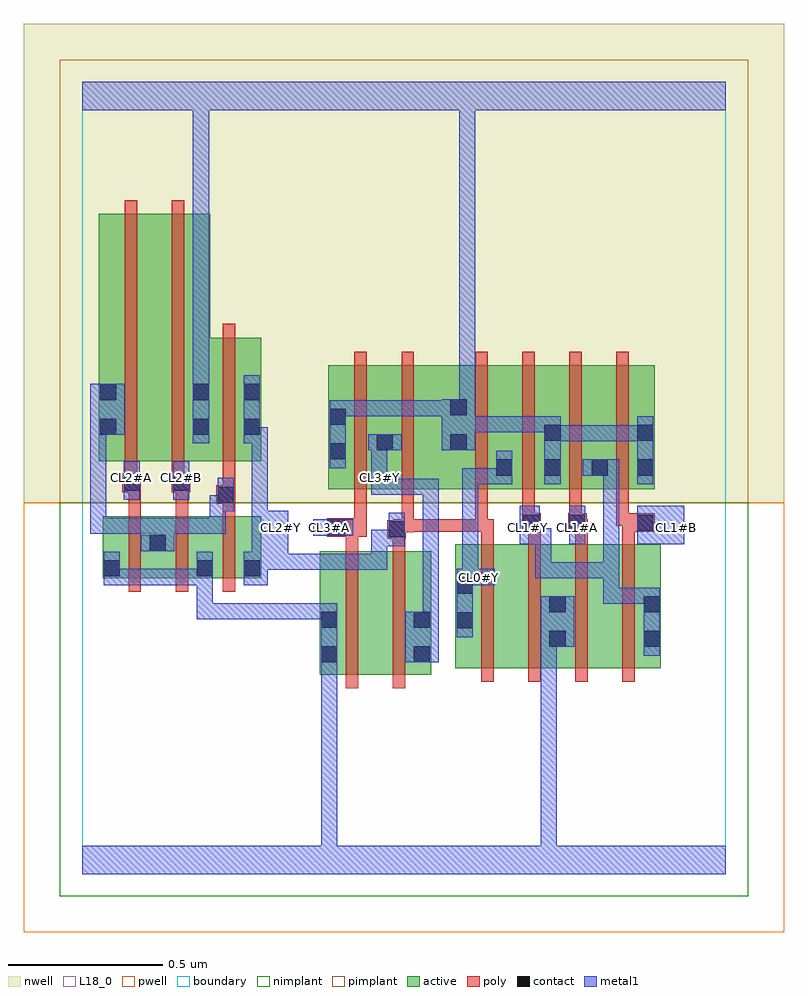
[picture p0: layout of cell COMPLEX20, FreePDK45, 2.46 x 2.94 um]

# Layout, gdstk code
import gdstk
lib = gdstk.Library(unit=1e-6, precision=1e-09)
def R(c, l, rs):  # rectangles x0, y0, x1, y1
    for r in rs: c.add(gdstk.rectangle(r[:2], r[2:], *l))
def A(c, l, x, y, w, h, nx, ny, dx, dy):  # array of equal rectangles
    R(c, l, [(x+i*dx, y+j*dy, x+i*dx+w, y+j*dy+h) for i in range(nx) for j in range(ny)])
active = (1, 0)
pwell = (2, 0)
nwell = (3, 0)
nimplant = (4, 0)
pimplant = (5, 0)
poly = (9, 0)
contact = (10, 0)
metal1 = (11, 0)
L18_0 = (18, 0)
boundary = (235, 0)

complex20 = lib.new_cell('COMPLEX20')
A(complex20, active, 0.214, 0.956, 0.06, 0.2, 3, 1, 0.152, 0)
R(complex20, active, [(0.768,0.644,0.948,1.044), (0.768,0.644,0.828,1.044), (0.948,0.644,1.128,1.044), (1.068,0.644,1.128,1.044), (1.206,0.666,1.386,1.066), (1.386,0.666,1.566,1.066), (1.506,0.666,1.69,1.066), (1.69,0.666,1.87,1.066), (1.506,0.73,1.566,0.902), (1.81,0.73,1.87,1.066), (1.206,0.756,1.266,1.066), (0.066,0.956,0.126,1.156), (0.066,0.956,0.274,1.156), (0.214,0.956,0.426,1.156), (0.366,0.956,0.578,1.156), (0.796,1.244,0.856,1.644), (0.796,1.244,1.008,1.644), (0.948,1.244,1.008,1.644), (0.948,1.244,1.246,1.644), (1.186,1.244,1.246,1.644), (1.186,1.244,1.394,1.644), (1.334,1.244,1.394,1.644), (1.334,1.244,1.55,1.644), (1.49,1.244,1.55,1.644), (1.49,1.244,1.702,1.644), (1.642,1.244,1.702,1.644), (1.642,1.244,1.85,1.644), (1.79,1.244,1.85,1.644), (0.054,1.334,0.234,2.134), (0.054,1.334,0.114,2.044), (0.234,1.334,0.414,2.134), (0.354,1.334,0.414,1.644), (0.354,1.334,0.578,1.734), (0.518,1.334,0.578,1.644)])
R(complex20, pwell, [(-0.188,-0.188,2.268,1.2)])
R(complex20, nwell, [(-0.188,1.2,2.268,2.748)])
R(complex20, nimplant, [(-0.072,-0.072,2.152,1.2)])
R(complex20, pimplant, [(-0.072,1.2,2.152,2.632)])
A(complex20, poly, 1.29, 0.622, 0.04, 0.488, 4, 1, 0.152, 0)
A(complex20, poly, 0.15, 0.912, 0.04, 0.288, 3, 1, 0.152, 0)
A(complex20, poly, 1.29, 1.07, 0.04, 0.076, 4, 1, 0.152, 0)
A(complex20, poly, 1.422, 1.126, 0.04, 0.114, 3, 1, 0.152, 0)
A(complex20, poly, 1.27, 1.2, 0.04, 0.488, 4, 1, 0.152, 0)
R(complex20, poly, [(0.852,0.6,0.892,1.088), (1.004,0.6,1.044,1.088), (0.852,1.048,0.892,1.13), (1.004,1.048,1.044,1.124), (0.986,1.084,1.046,1.144), (0.792,1.09,0.92,1.15), (0.852,1.09,0.892,1.13), (0.852,1.09,0.892,1.13), (1.006,1.104,1.046,1.144), (1.006,1.104,1.072,1.146), (1.032,1.106,1.072,1.146), (1.032,1.106,1.072,1.146), (1.032,1.106,1.072,1.24), (1.032,1.106,1.31,1.146), (1.27,1.106,1.31,1.146), (1.27,1.106,1.31,1.146), (1.27,1.106,1.31,1.146), (1.27,1.106,1.31,1.146), (1.27,1.106,1.33,1.146), (1.27,1.106,1.31,1.24), (1.422,1.106,1.482,1.166), (1.57,1.106,1.63,1.166), (1.59,1.106,1.63,1.146), (1.59,1.106,1.634,1.146), (1.746,1.106,1.85,1.166), (0.88,1.11,0.92,1.24), (1.422,1.126,1.462,1.166), (1.422,1.126,1.462,1.166), (1.726,1.126,1.786,1.166), (1.746,1.126,1.786,1.166), (0.15,1.16,0.19,1.274), (0.302,1.16,0.342,1.274), (0.454,1.16,0.494,1.236), (0.434,1.196,0.494,1.256), (0.88,1.2,0.92,1.688), (1.032,1.2,1.072,1.688), (0.454,1.216,0.494,1.33), (0.454,1.216,0.494,1.256), (0.454,1.216,0.494,1.256), (0.13,1.234,0.19,1.294), (0.15,1.234,0.19,1.274), (0.15,1.234,0.19,1.274), (0.29,1.234,0.35,1.294), (0.302,1.234,0.342,1.274), (0.302,1.234,0.342,1.274), (0.138,1.254,0.178,1.33), (0.29,1.254,0.33,1.33), (0.138,1.29,0.178,2.178), (0.29,1.29,0.33,2.178), (0.454,1.29,0.494,1.778)])
R(complex20, contact, [(0.772,0.684,0.824,0.736), (1.072,0.684,1.124,0.736), (1.51,0.734,1.562,0.786), (1.814,0.734,1.866,0.786), (1.21,0.794,1.262,0.846), (0.772,0.796,0.824,0.848), (1.072,0.796,1.124,0.848), (1.51,0.846,1.562,0.898), (1.814,0.846,1.866,0.898), (1.21,0.906,1.262,0.958), (0.07,0.962,0.122,1.014), (0.37,0.962,0.422,1.014), (0.522,0.962,0.574,1.014), (0.218,1.044,0.27,1.096), (0.99,1.088,1.042,1.14), (0.796,1.094,0.848,1.146), (1.426,1.11,1.478,1.162), (1.574,1.11,1.626,1.162), (1.794,1.11,1.846,1.162), (0.438,1.2,0.49,1.252), (0.134,1.238,0.186,1.29), (0.294,1.238,0.346,1.29), (1.338,1.288,1.39,1.34), (1.494,1.288,1.546,1.34), (1.646,1.288,1.698,1.34), (1.794,1.288,1.846,1.34), (0.8,1.34,0.852,1.392), (0.952,1.37,1.004,1.422), (1.19,1.37,1.242,1.422), (1.494,1.4,1.546,1.452), (1.794,1.4,1.846,1.452), (0.058,1.42,0.11,1.472), (0.358,1.42,0.41,1.472), (0.522,1.42,0.574,1.472), (0.8,1.452,0.852,1.504), (1.19,1.482,1.242,1.534), (0.058,1.532,0.11,1.584), (0.358,1.532,0.41,1.584), (0.522,1.532,0.574,1.584)])
R(complex20, metal1, [(0,0,2.08,0.092), (0.772,0.04,0.824,0.092), (0.772,0.04,0.824,0.092), (0.772,0.04,0.824,0.092), (0.772,0.04,0.824,0.092), (0.772,0.04,0.824,0.092), (0.772,0.04,0.824,0.092), (0.772,0.04,0.824,0.092), (0.772,0.04,0.824,0.092), (0.772,0.04,0.824,0.092), (0.772,0.04,0.824,0.092), (0.772,0.04,0.824,0.708), (1.482,0.04,1.534,0.786), (0.772,0.656,0.824,0.708), (0.772,0.656,0.824,0.708), (0.772,0.656,0.824,0.876), (1.044,0.684,1.152,0.848), (1.814,0.706,1.866,0.926), (1.482,0.734,1.534,0.786), (1.482,0.734,1.534,0.786), (1.482,0.734,1.534,0.786), (1.482,0.734,1.534,0.786), (1.482,0.734,1.534,0.786), (1.482,0.734,1.534,0.786), (1.482,0.734,1.534,0.786), (1.482,0.734,1.534,0.786), (1.482,0.734,1.534,0.786), (1.482,0.734,1.534,0.786), (1.482,0.734,1.534,0.786), (1.482,0.734,1.534,0.786), (1.482,0.734,1.59,0.898), (1.21,0.766,1.262,0.986), (1.1,0.796,1.152,1.278), (0.37,0.824,0.422,0.876), (0.37,0.824,0.422,0.876), (0.37,0.824,0.422,0.876), (0.37,0.824,0.422,0.876), (0.37,0.824,0.422,0.876), (0.37,0.824,0.422,0.986), (0.37,0.824,0.688,0.876), (0.636,0.824,0.688,0.876), (0.636,0.824,0.824,0.876), (1.684,0.874,1.736,0.926), (1.684,0.874,1.866,0.926), (1.684,0.874,1.736,1.008), (1.814,0.874,1.866,0.926), (1.814,0.874,1.866,0.926), (0.07,0.934,0.122,0.986), (0.07,0.934,0.122,0.986), (0.07,0.934,0.122,1.042), (0.07,0.934,0.3,0.986), (0.248,0.934,0.3,0.986), (0.248,0.934,0.3,0.986), (0.248,0.934,0.3,0.986), (0.248,0.934,0.422,0.986), (0.37,0.934,0.422,1.042), (0.522,0.934,0.6,1.042), (1.21,0.934,1.262,0.986), (1.21,0.934,1.334,0.986), (1.228,0.934,1.28,0.986), (1.228,0.934,1.28,0.986), (1.228,0.934,1.28,1.312), (1.464,0.956,1.736,1.008), (1.464,0.956,1.516,1.118), (1.684,0.956,1.736,1.008), (1.684,0.956,1.736,1.008), (1.684,0.956,1.736,1.008), (1.684,0.956,1.736,1.008), (1.684,0.956,1.736,1.008), (1.684,0.956,1.736,1.34), (0.548,0.984,0.6,1.036), (0.548,0.984,0.666,1.174), (0.614,0.984,0.866,1.036), (0.814,0.984,0.866,1.036), (0.814,0.984,0.866,1.036), (0.814,0.984,0.866,1.036), (0.814,0.984,0.986,1.036), (0.934,0.984,0.986,1.112), (0.19,1.044,0.298,1.096), (0.246,1.044,0.298,1.152), (0.934,1.06,1.042,1.112), (0.99,1.06,1.042,1.168), (1.414,1.066,1.478,1.19), (1.426,1.066,1.516,1.118), (1.574,1.066,1.626,1.19), (1.794,1.066,1.946,1.19), (0.746,1.094,0.876,1.146), (0.026,1.1,0.078,1.152), (0.026,1.1,0.078,1.152), (0.026,1.1,0.078,1.152), (0.026,1.1,0.078,1.152), (0.026,1.1,0.078,1.152), (0.026,1.1,0.298,1.152), (0.026,1.1,0.078,1.472), (0.246,1.1,0.298,1.152), (0.246,1.1,0.298,1.152), (0.246,1.1,0.298,1.152), (0.246,1.1,0.464,1.152), (0.412,1.1,0.464,1.224), (0.548,1.122,0.6,1.444), (0.412,1.172,0.49,1.224), (0.438,1.172,0.49,1.28), (0.134,1.21,0.186,1.334), (0.294,1.21,0.346,1.334), (0.934,1.226,0.986,1.278), (0.934,1.226,0.986,1.278), (0.934,1.226,0.986,1.334), (0.934,1.226,1.152,1.278), (1.1,1.226,1.152,1.278), (1.1,1.226,1.152,1.278), (1.1,1.226,1.152,1.278), (1.228,1.26,1.28,1.312), (1.228,1.26,1.28,1.312), (1.228,1.26,1.28,1.312), (1.228,1.26,1.39,1.312), (1.338,1.26,1.39,1.368), (1.494,1.26,1.546,1.48), (1.794,1.26,1.846,1.48), (0.934,1.282,0.986,1.422), (1.618,1.288,1.736,1.34), (0.8,1.312,0.852,1.532), (0.924,1.37,1.032,1.422), (1.162,1.37,1.27,1.534), (0.358,1.392,0.41,1.612), (0.522,1.392,0.574,1.444), (0.522,1.392,0.574,1.612), (0.522,1.392,0.6,1.444), (1.494,1.398,1.736,1.45), (1.684,1.398,1.736,1.45), (1.684,1.398,1.736,1.45), (1.684,1.398,1.736,1.45), (1.684,1.398,1.846,1.45), (1.794,1.398,1.846,1.45), (1.794,1.398,1.846,1.45), (0.026,1.42,0.138,1.584), (1.218,1.428,1.27,1.48), (1.218,1.428,1.27,1.48), (1.218,1.428,1.406,1.48), (1.354,1.428,1.406,1.48), (1.354,1.428,1.406,1.48), (1.354,1.428,1.406,1.48), (1.354,1.428,1.546,1.48), (0.8,1.48,0.852,1.532), (0.8,1.48,0.852,1.532), (0.8,1.48,0.986,1.532), (0.934,1.48,0.986,1.532), (0.934,1.48,1.096,1.532), (1.044,1.48,1.096,1.532), (1.044,1.48,1.096,1.532), (1.044,1.48,1.096,1.532), (1.044,1.48,1.214,1.532), (1.218,1.482,1.27,1.534), (1.218,1.482,1.27,1.534), (1.218,1.482,1.27,1.534), (1.218,1.482,1.27,1.534), (1.218,1.482,1.27,1.534), (1.218,1.482,1.27,1.534), (1.218,1.482,1.27,1.534), (1.218,1.482,1.27,1.534), (1.218,1.482,1.27,1.534), (1.218,1.482,1.27,1.534), (1.218,1.482,1.27,1.534), (1.218,1.482,1.27,1.534), (1.218,1.482,1.27,1.534), (1.218,1.482,1.27,1.534), (1.218,1.482,1.27,2.52), (0.358,1.56,0.41,1.612), (0.358,1.56,0.41,1.612), (0.358,1.56,0.41,1.612), (0.358,1.56,0.41,1.612), (0.358,1.56,0.41,2.52), (0,2.468,2.08,2.56), (0.358,2.468,0.41,2.52), (0.358,2.468,0.41,2.52), (0.358,2.468,0.41,2.52), (0.358,2.468,0.41,2.52), (1.218,2.468,1.27,2.52), (1.218,2.468,1.27,2.52)])
R(complex20, L18_0, [(0,0,2.08,0.092), (0.772,0.04,0.824,0.092), (0.772,0.04,0.824,0.092), (0.772,0.04,0.824,0.092), (0.772,0.04,0.824,0.092), (0.772,0.04,0.824,0.092), (0.772,0.04,0.824,0.092), (0.772,0.04,0.824,0.092), (0.772,0.04,0.824,0.092), (0.772,0.04,0.824,0.092), (0.772,0.04,0.824,0.092), (0.772,0.04,0.824,0.708), (1.482,0.04,1.534,0.786), (0.772,0.656,0.824,0.708), (0.772,0.656,0.824,0.708), (0.772,0.656,0.824,0.876), (1.044,0.684,1.152,0.848), (1.814,0.706,1.866,0.926), (1.482,0.734,1.534,0.786), (1.482,0.734,1.534,0.786), (1.482,0.734,1.534,0.786), (1.482,0.734,1.534,0.786), (1.482,0.734,1.534,0.786), (1.482,0.734,1.534,0.786), (1.482,0.734,1.534,0.786), (1.482,0.734,1.534,0.786), (1.482,0.734,1.534,0.786), (1.482,0.734,1.534,0.786), (1.482,0.734,1.534,0.786), (1.482,0.734,1.534,0.786), (1.482,0.734,1.59,0.898), (1.21,0.766,1.262,0.986), (1.1,0.796,1.152,1.278), (0.37,0.824,0.422,0.876), (0.37,0.824,0.422,0.876), (0.37,0.824,0.422,0.876), (0.37,0.824,0.422,0.876), (0.37,0.824,0.422,0.876), (0.37,0.824,0.422,0.986), (0.37,0.824,0.688,0.876), (0.636,0.824,0.688,0.876), (0.636,0.824,0.824,0.876), (1.684,0.874,1.736,0.926), (1.684,0.874,1.736,1.008), (1.684,0.874,1.866,0.926), (1.814,0.874,1.866,0.926), (1.814,0.874,1.866,0.926), (0.07,0.934,0.122,1.042), (0.07,0.934,0.122,0.986), (0.07,0.934,0.122,0.986), (0.07,0.934,0.3,0.986), (0.248,0.934,0.3,0.986), (0.248,0.934,0.3,0.986), (0.248,0.934,0.3,0.986), (0.248,0.934,0.422,0.986), (0.37,0.934,0.422,1.042), (0.522,0.934,0.6,1.042), (1.21,0.934,1.262,0.986), (1.21,0.934,1.334,0.986), (1.228,0.934,1.28,0.986), (1.228,0.934,1.28,0.986), (1.228,0.934,1.28,1.312), (1.254,0.934,1.306,0.986), (1.464,0.956,1.516,1.118), (1.464,0.956,1.736,1.008), (1.684,0.956,1.736,1.008), (1.684,0.956,1.736,1.008), (1.684,0.956,1.736,1.008), (1.684,0.956,1.736,1.008), (1.684,0.956,1.736,1.008), (1.684,0.956,1.736,1.34), (0.548,0.984,0.6,1.036), (0.548,0.984,0.666,1.174), (0.614,0.984,0.866,1.036), (0.814,0.984,0.866,1.036), (0.814,0.984,0.866,1.036), (0.814,0.984,0.866,1.036), (0.814,0.984,0.986,1.036), (0.934,0.984,0.986,1.112), (0.934,1.06,1.042,1.112), (0.99,1.06,1.042,1.168), (1.414,1.066,1.478,1.19), (1.426,1.066,1.516,1.118), (1.574,1.066,1.626,1.19), (1.794,1.066,1.946,1.19), (0.614,1.094,0.666,1.146), (0.746,1.094,0.876,1.146), (0.774,1.094,0.826,1.146), (1.414,1.094,1.466,1.146), (1.574,1.094,1.626,1.146), (1.894,1.094,1.946,1.146), (0.548,1.122,0.6,1.444), (0.134,1.21,0.186,1.334), (0.294,1.21,0.346,1.334), (0.934,1.226,0.986,1.334), (0.934,1.226,0.986,1.278), (0.934,1.226,0.986,1.278), (0.934,1.226,1.152,1.278), (1.1,1.226,1.152,1.278), (1.1,1.226,1.152,1.278), (1.1,1.226,1.152,1.278), (0.134,1.254,0.186,1.306), (0.294,1.254,0.346,1.306), (0.934,1.254,0.986,1.306), (1.228,1.26,1.28,1.312), (1.228,1.26,1.28,1.312), (1.228,1.26,1.28,1.312), (1.228,1.26,1.39,1.312), (1.338,1.26,1.39,1.368), (1.494,1.26,1.546,1.48), (1.794,1.26,1.846,1.48), (0.934,1.282,0.986,1.422), (1.618,1.288,1.736,1.34), (0.8,1.312,0.852,1.532), (0.924,1.37,1.032,1.422), (1.162,1.37,1.27,1.534), (0.358,1.392,0.41,1.612), (0.522,1.392,0.574,1.444), (0.522,1.392,0.574,1.612), (0.522,1.392,0.6,1.444), (1.494,1.398,1.736,1.45), (1.684,1.398,1.736,1.45), (1.684,1.398,1.736,1.45), (1.684,1.398,1.736,1.45), (1.684,1.398,1.846,1.45), (1.794,1.398,1.846,1.45), (1.794,1.398,1.846,1.45), (1.218,1.428,1.27,1.48), (1.218,1.428,1.27,1.48), (1.218,1.428,1.406,1.48), (1.354,1.428,1.406,1.48), (1.354,1.428,1.406,1.48), (1.354,1.428,1.406,1.48), (1.354,1.428,1.546,1.48), (0.8,1.48,0.852,1.532), (0.8,1.48,0.852,1.532), (0.8,1.48,0.986,1.532), (0.934,1.48,0.986,1.532), (0.934,1.48,1.096,1.532), (1.044,1.48,1.096,1.532), (1.044,1.48,1.096,1.532), (1.044,1.48,1.096,1.532), (1.044,1.48,1.214,1.532), (1.218,1.482,1.27,1.534), (1.218,1.482,1.27,1.534), (1.218,1.482,1.27,1.534), (1.218,1.482,1.27,1.534), (1.218,1.482,1.27,1.534), (1.218,1.482,1.27,1.534), (1.218,1.482,1.27,1.534), (1.218,1.482,1.27,1.534), (1.218,1.482,1.27,1.534), (1.218,1.482,1.27,1.534), (1.218,1.482,1.27,1.534), (1.218,1.482,1.27,1.534), (1.218,1.482,1.27,1.534), (1.218,1.482,1.27,1.534), (1.218,1.482,1.27,2.52), (0.358,1.56,0.41,1.612), (0.358,1.56,0.41,1.612), (0.358,1.56,0.41,1.612), (0.358,1.56,0.41,1.612), (0.358,1.56,0.41,2.52), (0,2.468,2.08,2.56), (0.358,2.468,0.41,2.52), (0.358,2.468,0.41,2.52), (0.358,2.468,0.41,2.52), (0.358,2.468,0.41,2.52), (1.218,2.468,1.27,2.52), (1.218,2.468,1.27,2.52)])
R(complex20, boundary, [(0,0,2.08,2.56)])
complex20.add(gdstk.Label('CL0#Y', (1.28,0.96), layer=11, texttype=0))
complex20.add(gdstk.Label('CL1#A', (1.6,1.12), layer=11, texttype=0))
complex20.add(gdstk.Label('CL1#B', (1.92,1.12), layer=11, texttype=0))
complex20.add(gdstk.Label('CL1#Y', (1.44,1.12), layer=11, texttype=0))
complex20.add(gdstk.Label('CL2#A', (0.16,1.28), layer=11, texttype=0))
complex20.add(gdstk.Label('CL2#B', (0.32,1.28), layer=11, texttype=0))
complex20.add(gdstk.Label('CL2#Y', (0.64,1.12), layer=11, texttype=0))
complex20.add(gdstk.Label('CL3#A', (0.8,1.12), layer=11, texttype=0))
complex20.add(gdstk.Label('CL3#Y', (0.96,1.28), layer=11, texttype=0))

lib.write_gds('COMPLEX20.gds')
